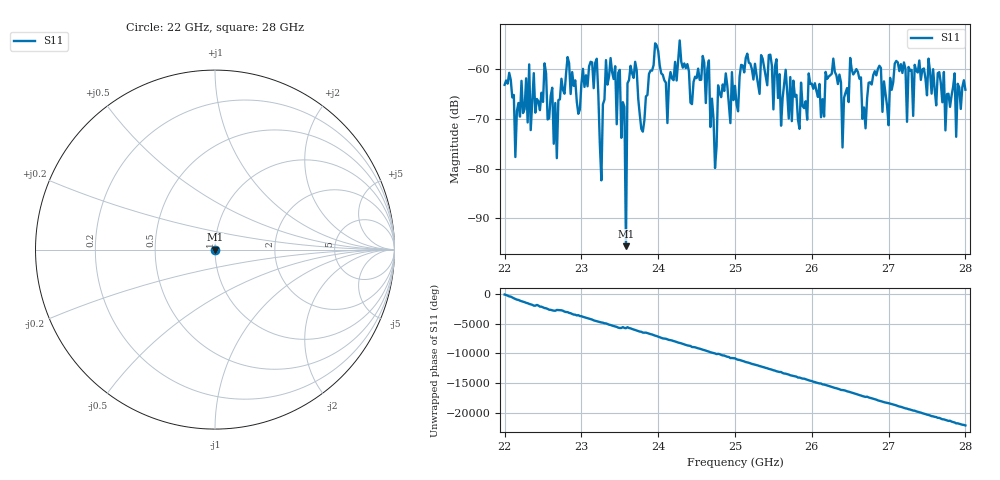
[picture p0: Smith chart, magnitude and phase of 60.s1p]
#  HZ  S  RI  R  50.00
! Rohde & Schwarz ZVA40 4Ports - Version 3.90 - 1145.1110k42 SN: 100403
! Date: 2023-10-04 06:34:12
! Measurement: S12
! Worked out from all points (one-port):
!   301 points, 22 GHz to 28 GHz, reference 50 ohm
!   lowest |S11| = -95.6 dB at 23.58 GHz (marker M1), VSWR 1.00, Z = 50 + j8.97e-05 ohm
!   |S11| at or under -10 dB: start of sweep to end of sweep
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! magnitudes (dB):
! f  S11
! 22 GHz  -63.1
! 22.14 GHz  -77.7
! 22.32 GHz  -59.0
! 22.34 GHz  -72.3
! 22.52 GHz  -58.8
! 22.68 GHz  -77.9
! 22.76 GHz  -64.2
! 23.2 GHz  -57.9
! 23.26 GHz  -82.4
! 23.32 GHz  -58.2
! 23.5 GHz  -60.1
! 23.58 GHz  -95.6
! 23.64 GHz  -59.3
! 23.8 GHz  -72.6
! 23.96 GHz  -54.8
! 24.12 GHz  -70.8
! 24.26 GHz  -58.2
! 24.66 GHz  -58.2
! 24.74 GHz  -79.9
! 24.78 GHz  -63.2
! 25 GHz  -63.3
! 25.76 GHz  -62.3
! 26.28 GHz  -57.9
! 26.4 GHz  -75.8
! 26.5 GHz  -57.7
! 26.7 GHz  -71.9
! 27.26 GHz  -59.5
! 28 GHz  -64.1
